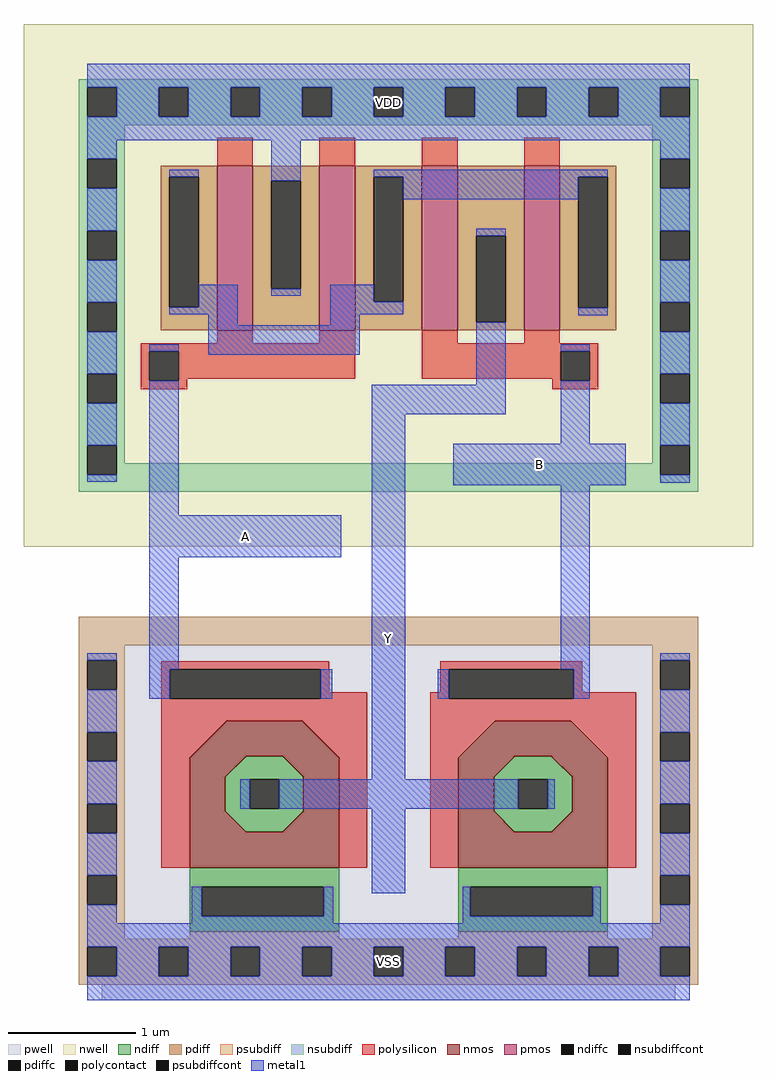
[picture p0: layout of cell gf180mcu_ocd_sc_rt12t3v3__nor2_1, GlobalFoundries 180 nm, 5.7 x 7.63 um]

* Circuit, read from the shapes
.subckt gf180mcu_ocd_sc_rt12t3v3__nor2_1 VDD VSS Y B A
XM1 Y A VSS VSS nfet_03v3 w=1.785u l=0.5254u
XM2 Y B VSS VSS nfet_03v3 w=1.785u l=0.5383u
XM3 VDD A n1 VDD pfet_03v3 w=1.285u l=0.28u m=2
XM4 Y B n1 VDD pfet_03v3 w=1.285u l=0.28u m=2
.ends

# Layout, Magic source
magic
tech gf180mcuD
magscale 1 10
<< nwell >>
rect -122 649 1018 1466
<< pwell >>
rect -36 -36 932 539
rect 0 -60 896 -36
<< nmos >>
tri 137 319 195 377 se
rect 195 321 313 377
rect 195 319 223 321
tri 223 319 225 321 nw
tri 283 319 285 321 ne
rect 285 319 313 321
tri 313 319 371 377 sw
rect 137 203 193 319
tri 193 289 223 319 nw
tri 285 289 315 319 ne
tri 193 203 225 235 sw
tri 283 203 315 235 se
rect 315 203 371 319
rect 137 147 371 203
tri 557 319 615 377 se
rect 615 321 733 377
rect 615 319 643 321
tri 643 319 645 321 nw
tri 703 319 705 321 ne
rect 705 319 733 321
tri 733 319 791 377 sw
rect 557 203 613 319
tri 613 289 643 319 nw
tri 705 289 735 319 ne
tri 613 203 645 235 sw
tri 703 203 735 235 se
rect 735 203 791 319
rect 557 147 791 203
<< pmos >>
rect 180 987 236 1244
rect 340 987 396 1244
rect 500 987 556 1244
rect 660 987 716 1244
<< ndiff >>
tri 223 319 225 321 se
rect 225 319 283 321
tri 283 319 285 321 sw
tri 193 289 223 319 se
rect 223 289 285 319
tri 285 289 315 319 sw
rect 193 285 315 289
rect 193 239 231 285
rect 277 239 315 285
rect 193 235 315 239
tri 193 203 225 235 ne
rect 225 203 283 235
tri 283 203 315 235 nw
tri 643 319 645 321 se
rect 645 319 703 321
tri 703 319 705 321 sw
tri 613 289 643 319 se
rect 643 289 705 319
tri 705 289 735 319 sw
rect 613 285 735 289
rect 613 239 651 285
rect 697 239 735 285
rect 613 235 735 239
tri 613 203 645 235 ne
rect 645 203 703 235
tri 703 203 735 235 nw
rect 137 117 371 147
rect 137 71 156 117
rect 347 71 371 117
rect 137 47 371 71
rect 557 117 791 147
rect 557 71 576 117
rect 767 71 791 117
rect 557 47 791 71
<< pdiff >>
rect 92 1227 180 1244
rect 92 1023 105 1227
rect 151 1023 180 1227
rect 92 987 180 1023
rect 236 1221 340 1244
rect 236 1052 265 1221
rect 311 1052 340 1221
rect 236 987 340 1052
rect 396 1227 500 1244
rect 396 1032 425 1227
rect 471 1032 500 1227
rect 396 987 500 1032
rect 556 1135 660 1244
rect 556 1000 585 1135
rect 631 1000 660 1135
rect 556 987 660 1000
rect 716 1227 804 1244
rect 716 1022 745 1227
rect 791 1022 804 1227
rect 716 987 804 1022
<< ndiffc >>
rect 231 239 277 285
rect 651 239 697 285
rect 156 71 347 117
rect 576 71 767 117
<< pdiffc >>
rect 105 1023 151 1227
rect 265 1052 311 1221
rect 425 1032 471 1227
rect 585 1000 631 1135
rect 745 1022 791 1227
<< psubdiff >>
rect -36 495 932 539
rect -36 471 36 495
rect -36 425 -23 471
rect 23 425 36 471
rect 860 471 932 495
rect -36 359 36 425
rect -36 313 -23 359
rect 23 313 36 359
rect -36 247 36 313
rect -36 201 -23 247
rect 23 201 36 247
rect -36 135 36 201
rect 860 425 873 471
rect 919 425 932 471
rect 860 359 932 425
rect 860 313 873 359
rect 919 313 932 359
rect 860 247 932 313
rect 860 201 873 247
rect 919 201 932 247
rect -36 89 -23 135
rect 23 89 36 135
rect -36 36 36 89
rect 137 36 371 47
rect 557 36 791 47
rect 860 135 932 201
rect 860 89 873 135
rect 919 89 932 135
rect 860 36 932 89
rect -36 23 932 36
rect -36 -23 -23 23
rect 23 -23 89 23
rect 135 -23 201 23
rect 247 -23 313 23
rect 359 -23 425 23
rect 471 -23 537 23
rect 583 -23 649 23
rect 695 -23 761 23
rect 807 -23 873 23
rect 919 -23 932 23
rect -36 -36 932 -23
<< nsubdiff >>
rect -36 1367 932 1380
rect -36 1321 -23 1367
rect 23 1321 89 1367
rect 135 1321 201 1367
rect 247 1321 313 1367
rect 359 1321 425 1367
rect 471 1321 537 1367
rect 583 1321 649 1367
rect 695 1321 761 1367
rect 807 1321 873 1367
rect 919 1321 932 1367
rect -36 1308 932 1321
rect -36 1255 36 1308
rect -36 1209 -23 1255
rect 23 1209 36 1255
rect 860 1255 932 1308
rect -36 1143 36 1209
rect -36 1097 -23 1143
rect 23 1097 36 1143
rect -36 1031 36 1097
rect -36 985 -23 1031
rect 23 985 36 1031
rect 860 1209 873 1255
rect 919 1209 932 1255
rect 860 1143 932 1209
rect 860 1097 873 1143
rect 919 1097 932 1143
rect 860 1031 932 1097
rect -36 919 36 985
rect -36 873 -23 919
rect 23 873 36 919
rect 860 985 873 1031
rect 919 985 932 1031
rect 860 919 932 985
rect -36 807 36 873
rect -36 761 -23 807
rect 23 779 36 807
rect 860 873 873 919
rect 919 873 932 919
rect 860 807 932 873
rect 860 779 873 807
rect 23 761 873 779
rect 919 761 932 807
rect -36 735 932 761
<< psubdiffcont >>
rect -23 425 23 471
rect -23 313 23 359
rect -23 201 23 247
rect 873 425 919 471
rect 873 313 919 359
rect 873 201 919 247
rect -23 89 23 135
rect 873 89 919 135
rect -23 -23 23 23
rect 89 -23 135 23
rect 201 -23 247 23
rect 313 -23 359 23
rect 425 -23 471 23
rect 537 -23 583 23
rect 649 -23 695 23
rect 761 -23 807 23
rect 873 -23 919 23
<< nsubdiffcont >>
rect -23 1321 23 1367
rect 89 1321 135 1367
rect 201 1321 247 1367
rect 313 1321 359 1367
rect 425 1321 471 1367
rect 537 1321 583 1367
rect 649 1321 695 1367
rect 761 1321 807 1367
rect 873 1321 919 1367
rect -23 1209 23 1255
rect -23 1097 23 1143
rect -23 985 23 1031
rect 873 1209 919 1255
rect 873 1097 919 1143
rect -23 873 23 919
rect 873 985 919 1031
rect -23 761 23 807
rect 873 873 919 919
rect 873 761 919 807
<< polysilicon >>
rect 180 1244 236 1288
rect 340 1244 396 1288
rect 500 1244 556 1288
rect 660 1244 716 1288
rect 180 967 236 987
rect 340 967 396 987
rect 61 954 396 967
rect 61 908 74 954
rect 120 911 396 954
rect 500 967 556 987
rect 660 967 716 987
rect 500 954 776 967
rect 500 911 717 954
rect 120 908 133 911
rect 61 895 133 908
rect 704 908 717 911
rect 763 908 776 954
rect 704 895 776 908
rect 93 457 355 470
rect 93 411 106 457
rect 342 421 355 457
rect 529 457 751 470
rect 529 421 542 457
rect 342 411 415 421
rect 93 377 415 411
rect 93 147 137 377
tri 137 319 195 377 nw
tri 313 319 371 377 ne
rect 371 147 415 377
rect 513 411 542 421
rect 738 421 751 457
rect 738 411 835 421
rect 513 377 835 411
rect 513 147 557 377
tri 557 319 615 377 nw
tri 733 319 791 377 ne
rect 791 147 835 377
<< polycontact >>
rect 74 908 120 954
rect 717 908 763 954
rect 106 411 342 457
rect 542 411 738 457
<< metal1 >>
rect -23 1367 919 1404
rect 23 1321 89 1367
rect 135 1321 201 1367
rect 247 1321 313 1367
rect 359 1321 425 1367
rect 471 1321 537 1367
rect 583 1321 649 1367
rect 695 1321 761 1367
rect 807 1321 873 1367
rect -23 1284 919 1321
rect -23 1255 23 1284
rect -23 1143 23 1209
rect -23 1031 23 1097
rect 105 1227 151 1238
rect 265 1221 311 1284
rect 873 1255 919 1284
rect 151 1023 212 1058
rect 425 1227 791 1238
rect 265 1041 311 1052
rect 105 1012 212 1023
rect -23 919 23 985
rect 166 995 212 1012
rect 357 1032 425 1058
rect 471 1192 745 1227
rect 357 1012 471 1032
rect 585 1135 631 1146
rect 357 995 403 1012
rect -23 807 23 873
rect -23 750 23 761
rect 74 954 120 965
rect 166 949 403 995
rect 745 1011 791 1022
rect 873 1143 919 1209
rect 873 1031 919 1097
rect 74 698 120 908
rect 585 902 631 1000
rect 422 856 631 902
rect 717 954 763 965
rect 74 632 374 698
rect -23 471 23 482
rect -23 359 23 425
rect 74 457 120 632
rect 74 411 106 457
rect 342 411 360 457
rect -23 247 23 313
rect 422 285 474 856
rect 717 810 763 908
rect 873 919 919 985
rect 549 745 819 810
rect 873 807 919 873
rect 873 749 919 761
rect 717 457 763 745
rect 525 411 542 457
rect 738 411 763 457
rect 873 471 919 482
rect 873 359 919 425
rect 216 239 231 285
rect 277 239 651 285
rect 697 239 708 285
rect 873 247 919 313
rect -23 135 23 201
rect -23 60 23 89
rect 140 71 156 117
rect 347 71 362 117
rect 422 107 474 239
rect 873 135 919 201
rect 140 60 362 71
rect 564 71 576 117
rect 767 71 780 117
rect 564 60 780 71
rect 873 60 919 89
rect -23 23 919 60
rect 23 -23 89 23
rect 135 -23 201 23
rect 247 -23 313 23
rect 359 -23 425 23
rect 471 -23 537 23
rect 583 -23 649 23
rect 695 -23 761 23
rect 807 -23 873 23
rect -23 -60 919 -23
<< labels >>
flabel metal1 s 0 -60 896 60 0 FreeSans 400 0 0 0 VSS
port 4 nsew ground bidirectional abutment
flabel metal1 s 422 107 474 902 0 FreeSans 320 0 0 0 Y
port 8 nsew
flabel metal1 s 0 1284 896 1404 0 FreeSans 400 0 0 0 VDD
port 1 nsew power bidirectional abutment
flabel metal1 s 549 745 819 810 0 FreeSans 320 0 0 0 B
port 9 nsew
flabel metal1 s 74 632 374 698 0 FreeSans 320 0 0 0 A
port 10 nsew
<< properties >>
string FIXED_BBOX 0 0 896 1344
<< end >>
